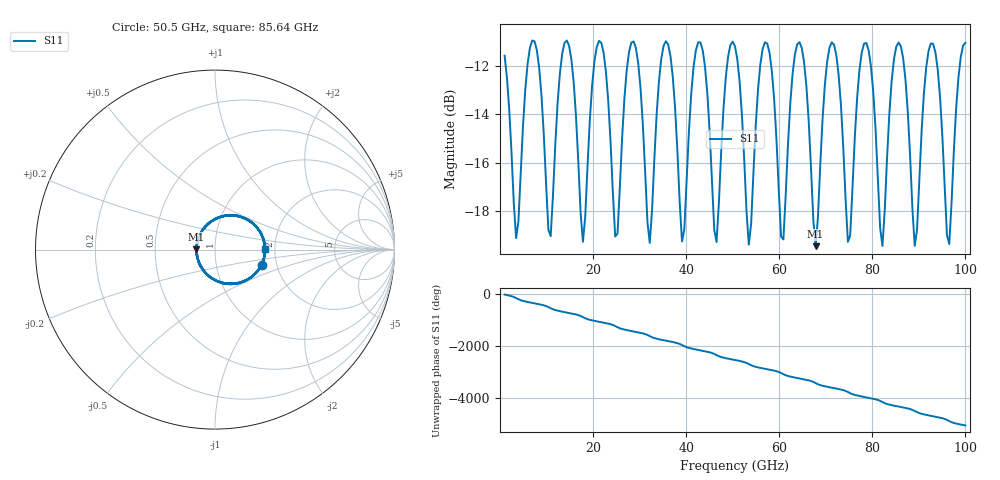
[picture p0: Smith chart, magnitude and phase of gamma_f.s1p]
!Created with skrf (http://scikit-rf.org).
# GHz S RI R 50.0
!freq ReS11 ImS11
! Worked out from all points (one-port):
!   201 points, 1 GHz to 100 GHz, reference 50 ohm
!   lowest |S11| = -19.5 dB at 67.83 GHz (marker M1), VSWR 1.24, Z = 40.4 + j0.214 ohm
!   |S11| at or under -10 dB: start of sweep to end of sweep
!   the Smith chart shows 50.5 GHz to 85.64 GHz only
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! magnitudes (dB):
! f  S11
! 1 GHz  -11.6
! 3.475 GHz  -19.1
! 10.9 GHz  -19.0
! 13.38 GHz  -11.5
! 17.83 GHz  -19.3
! 21.3 GHz  -11.0
! 25.75 GHz  -17.1
! 28.23 GHz  -11.0
! 32.19 GHz  -19.3
! 35.16 GHz  -11.2
! 38.12 GHz  -15.5
! 43.08 GHz  -11.0
! 46.54 GHz  -19.3
! 50.5 GHz  -11.2
! 53.47 GHz  -19.4
! 56.44 GHz  -11.3
! 60.9 GHz  -19.2
! 62.88 GHz  -12.3
! 67.83 GHz  -19.5
! 71.29 GHz  -11.0
! 75.25 GHz  -19.0
! 78.22 GHz  -11.1
! 82.18 GHz  -19.4
! 87.62 GHz  -13.9
! 89.11 GHz  -19.4
! 93.07 GHz  -11.1
! 96.53 GHz  -19.4
! 100 GHz  -11.0
